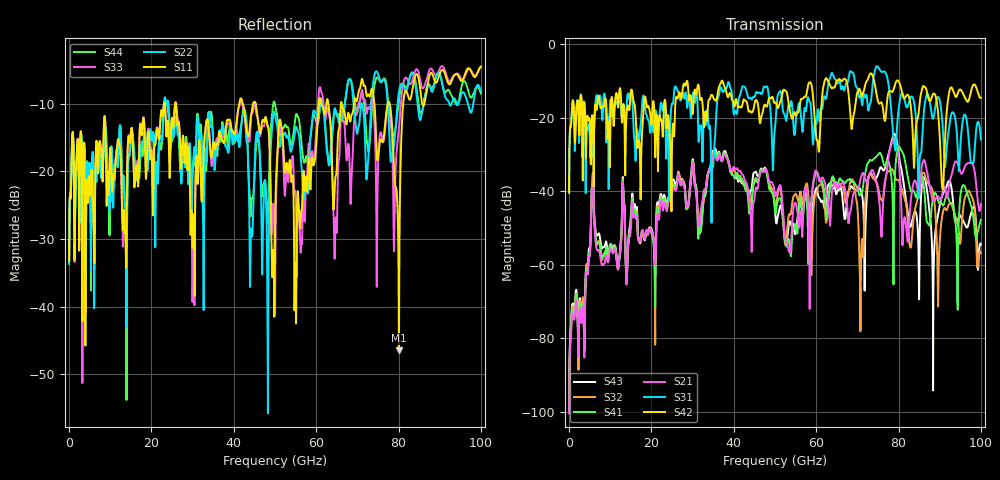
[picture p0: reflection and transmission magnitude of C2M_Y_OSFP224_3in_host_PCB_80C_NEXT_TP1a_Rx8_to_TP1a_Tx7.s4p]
# GHz S RI R 45
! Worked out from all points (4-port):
!   4000 points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, 25 MHz to 100 GHz, reference 45 ohm
!   strongest paths, dB at 25 MHz, 25.02 GHz, 50.02 GHz, 75.03 GHz, 100 GHz:
!     S42: -40.5, -26.4, -15.9, -15.6, -14.6
!     S31: -40.1, -16.2, -22.5, -6.3, -26.0
!     S21: -100.4, -39.9, -40.8, -40.0, -43.5
!     S41: -99.5, -38.3, -45.2, -30.1, -47.8
!     S32: -98.6, -38.8, -43.5, -38.8, -56.9
!     S43: -97.8, -37.3, -45.5, -35.4, -54.5
!   lowest |S11| = -46.4 dB at 80.1 GHz (marker M1), VSWR 1.01, Z = 44.9 - j0.413 ohm
!   |S11| at or under -10 dB: start of sweep to 23.08 GHz; 25.95 GHz to 41.34 GHz (15.39 GHz wide, 45.8 % of centre); 45.34 GHz to 60.66 GHz (15.32 GHz wide, 28.9 % of centre)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
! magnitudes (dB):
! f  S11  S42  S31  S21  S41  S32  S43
! 25 MHz  -33.3  -40.5  -40.1  -100.4  -99.5  -98.6  -97.8
! 5.8 GHz  -23.9  -20.6  -29.0  -35.3  -35.1  -35.1  -35.0
! 68.67 GHz  -11.5  -23.0  -7.7  -43.2  -37.6  -36.8  -38.8
! 70.97 GHz  -6.7  -14.1  -15.3  -35.9  -40.5  -56.0  -40.3
! 80.1 GHz  -46.4  -10.2  -17.1  -32.2  -27.9  -37.1  -30.3
! 90.67 GHz  -5.0  -39.4  -21.7  -40.4  -43.7  -46.2  -41.1
! 100 GHz  -4.5  -14.6  -26.0  -43.5  -47.8  -56.9  -54.5
